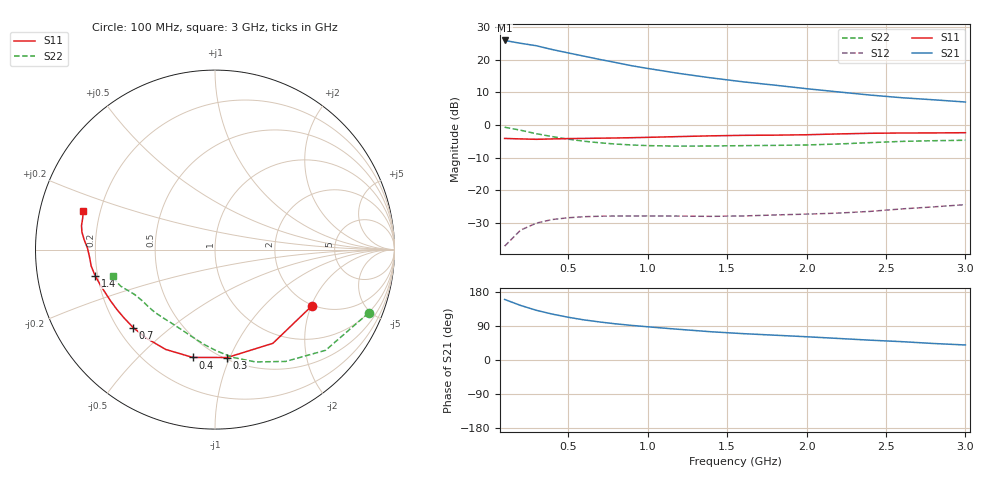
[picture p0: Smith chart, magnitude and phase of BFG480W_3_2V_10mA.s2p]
! Title: BFG480W
! Bias: Vce=3.2V; Ic=10mA
! Company: Philips Semiconductors NL
! User: Quality&Reliability T&D
! Measure time: 10 Nov 1999 / 11:56:12
#  MHz  S  MA  R 50
! Freq  S11  S21  S12  S22  :
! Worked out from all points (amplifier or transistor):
!   20 points, 100 MHz to 3 GHz, reference 50 ohm
!   highest |S21| = 25.8 dB at 100 MHz (marker M1)
!   |S21| within 3 dB of that: start of sweep to 421.2 MHz
!   unconditionally stable (mu >= 1): 1.692 GHz to end of sweep
!   at 400 MHz: K = 0.23, MSG = 26.0 dB, |S12| = -28.9 dB
!   at 1.2 GHz: K = 0.73, MSG = 21.8 dB, |S12| = -27.8 dB
!   at 3 GHz: K = 1.17, MAG = 13.2 dB, |S12| = -24.3 dB
!   S11 on the Smith chart (normalised r, x): 100 MHz: 1.96, -2.02; 300 MHz: 0.52, -0.98; 400 MHz: 0.38, -0.74; 700 MHz: 0.26, -0.38; 1.4 GHz: 0.19, -0.10; 3 GHz: 0.14, +0.14
100  0.6239 -30.2  19.58 159.8  0.01411 69.9  0.926 -22.4
200  0.6138 -58.3  17.74 144.1  0.02477 57.1  0.8335 -42.3
300  0.6051 -83.5  16.25 131.1  0.03175 47.6  0.7369 -57.7
400  0.6135 -101.6  14.22 121.1  0.03604 40.5  0.6652 -70.2
500  0.6205 -116.3  12.63 112.8  0.03832 35.7  0.6083 -80.7
600  0.6243 -127.9  11.27 105.8  0.03977 32.6  0.5657 -88.9
700  0.6299 -136.4  10.03 100.3  0.04043 30.5  0.535 -95.8
800  0.6341 -143.4  9.004 95.3  0.04073 29.4  0.5119 -101.7
900  0.6406 -148.8  8.051 91.3  0.04081 29.2  0.4958 -107.0
1000  0.6483 -153.9  7.325 87.6  0.04092 29.2  0.4847 -112.0
1200  0.6663 -162.0  6.131 80.8  0.04061 30.5  0.4758 -120.9
1400  0.6838 -167.8  5.251 74.5  0.04028 33.0  0.4785 -128.1
1600  0.6958 -172.4  4.575 69.6  0.04081 37.1  0.4841 -133.8
1800  0.7005 -176.7  4.065 65.5  0.04227 41.9  0.4888 -139.3
2000  0.7104 179.4  3.591 61.4  0.04356 46.8  0.496 -145.1
2200  0.7312 175.7  3.205 56.9  0.04514 50.8  0.513 -150.8
2400  0.7478 172.5  2.87 52.3  0.04793 54.5  0.5386 -155.3
2600  0.7556 169.8  2.612 48.4  0.05233 57.7  0.5624 -158.6
2800  0.7574 167.0  2.429 43.5  0.05619 59.5  0.576 -161.6
3000  0.7637 163.7  2.247 39.6  0.06077 61.4  0.5853 -165.4
